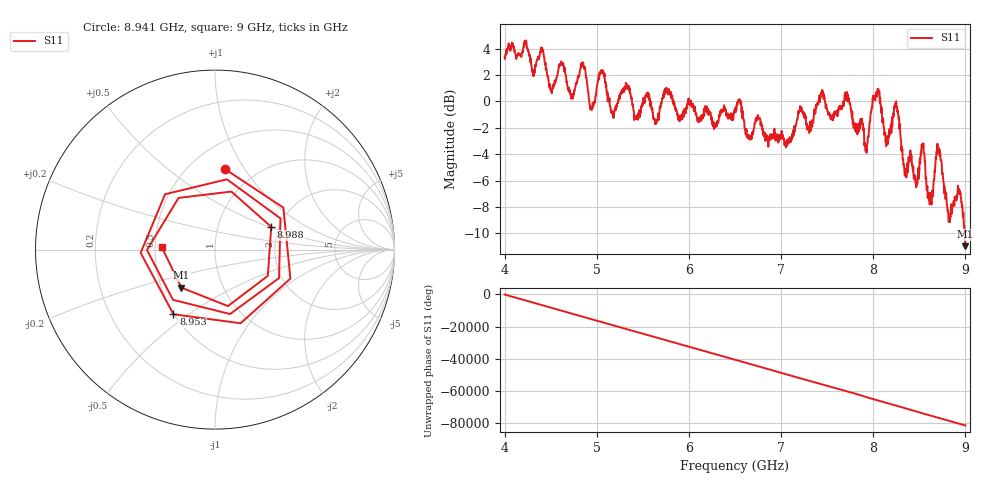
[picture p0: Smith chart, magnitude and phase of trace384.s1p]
! Created with skrf 1.8.0 (http://scikit-rf.org).
# Hz S RI R 50.0
!freq ReS11 ImS11
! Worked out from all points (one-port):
!   1601 points, 4 GHz to 9 GHz, reference 50 ohm
!   lowest |S11| = -11.0 dB at 8.997 GHz (marker M1), VSWR 1.79, Z = 31.6 - j14.5 ohm
!   |S11| at or under -10 dB: 8.994471 GHz to end of sweep
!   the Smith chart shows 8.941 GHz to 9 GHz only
!   S11 on the Smith chart (normalised r, x): 8.941 GHz: 0.72, +0.82; 8.953 GHz: 0.50, -0.44; 8.988 GHz: 1.82, +0.52; 9 GHz: 0.54, +0.02
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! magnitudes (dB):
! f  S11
! 4 GHz  3.3
! 4.506 GHz  0.8
! 4.625 GHz  2.8
! 4.728 GHz  0.4
! 4.853 GHz  2.9
! 4.944 GHz  -0.5
! 5.053 GHz  2.2
! 5.166 GHz  -0.9
! 5.25 GHz  0.5
! 5.875 GHz  -1.0
! 6.5 GHz  -0.7
! 7.125 GHz  -2.7
! 7.441 GHz  0.6
! 7.75 GHz  -0.2
! 7.925 GHz  -3.7
! 8.034 GHz  0.7
! 8.144 GHz  -2.7
! 8.25 GHz  0.0
! 8.375 GHz  -4.8
! 8.538 GHz  -3.5
! 8.622 GHz  -7.8
! 8.709 GHz  -3.7
! 8.819 GHz  -9.1
! 8.941 GHz  -6.9
! 8.953 GHz  -7.4
! 8.988 GHz  -9.4
! 8.997 GHz  -11.0
! 9 GHz  -10.5
